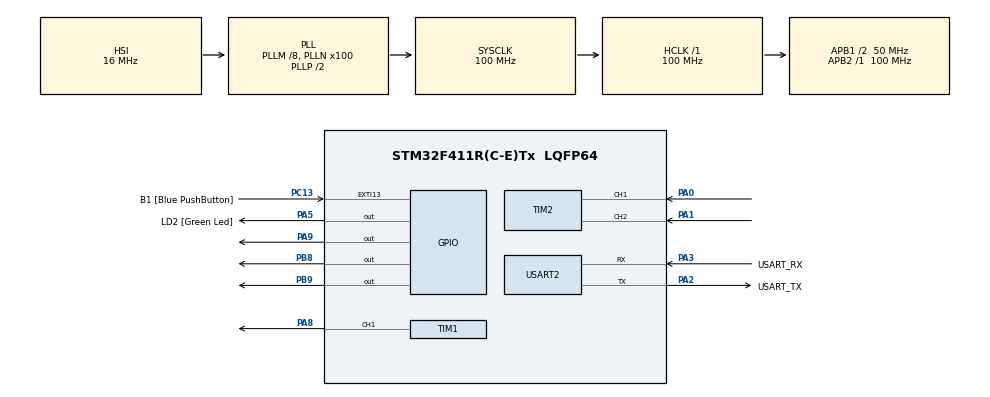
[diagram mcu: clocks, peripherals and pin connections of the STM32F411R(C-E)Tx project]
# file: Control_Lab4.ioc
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Mcu.Family=STM32F4
Mcu.Name=STM32F411R(C-E)Tx
Mcu.Package=LQFP64
NVIC.PriorityGroup=NVIC_PRIORITYGROUP_0
NVIC.TIM5_IRQn=true\:0\:0\:false\:false\:true\:true\:true\:true
PA0-WKUP.Signal=S_TIM2_CH1_ETR
PA1.Signal=S_TIM2_CH2
PA13.GPIO_Label=TMS
PA13.Mode=Serial_Wire
PA13.Signal=SYS_JTMS-SWDIO
PA14.GPIO_Label=TCK
PA14.Mode=Serial_Wire
PA14.Signal=SYS_JTCK-SWCLK
PA2.GPIO_Label=USART_TX
PA2.Mode=Asynchronous
PA2.Signal=USART2_TX
PA3.GPIO_Label=USART_RX
PA3.Mode=Asynchronous
PA3.Signal=USART2_RX
PA5.GPIO_Label=LD2 [Green Led]
PA5.Signal=GPIO_Output
PA8.Signal=S_TIM1_CH1
PA9.Signal=GPIO_Output
PB8.Signal=GPIO_Output
PB9.Signal=GPIO_Output
PC13-ANTI_TAMP.GPIO_Label=B1 [Blue PushButton]
PC13-ANTI_TAMP.GPIO_ModeDefaultEXTI=GPIO_MODE_IT_FALLING
PC13-ANTI_TAMP.Signal=GPXTI13
PC14-OSC32_IN.Mode=LSE-External-Oscillator
PC14-OSC32_IN.Signal=RCC_OSC32_IN
PC15-OSC32_OUT.Mode=LSE-External-Oscillator
PC15-OSC32_OUT.Signal=RCC_OSC32_OUT
PH0\ -\ OSC_IN.Mode=HSE-External-Clock-Source
PH0\ -\ OSC_IN.Signal=RCC_OSC_IN
PH1\ -\ OSC_OUT.Mode=HSE-External-Clock-Source
PH1\ -\ OSC_OUT.Signal=RCC_OSC_OUT
ProjectManager.HeapSize=0x200
ProjectManager.StackSize=0x400
ProjectManager.TargetToolchain=STM32CubeIDE
RCC.48MHZClocksFreq_Value=50000000
RCC.AHBFreq_Value=100000000
RCC.APB1CLKDivider=RCC_HCLK_DIV2
RCC.APB1Freq_Value=50000000
RCC.APB1TimFreq_Value=100000000
RCC.APB2Freq_Value=100000000
RCC.APB2TimFreq_Value=100000000
RCC.CortexFreq_Value=100000000
RCC.FLatency-AdvancedSettings=FLASH_LATENCY_3
RCC.HCLKFreq_Value=100000000
RCC.HSE_VALUE=8000000
RCC.HSI_VALUE=16000000
RCC.PLLM=8
RCC.PLLN=100
RCC.SYSCLKFreq_VALUE=100000000
RCC.SYSCLKSource=RCC_SYSCLKSOURCE_PLLCLK
RCC.VCOOutputFreq_Value=200000000
SH.S_TIM1_CH1.0=TIM1_CH1,PWM Generation1 CH1
SH.S_TIM2_CH1_ETR.0=TIM2_CH1,Encoder_Interface
SH.S_TIM2_CH2.0=TIM2_CH2,Encoder_Interface
TIM1.Channel-PWM\ Generation1\ CH1=TIM_CHANNEL_1
TIM1.Period=4999
TIM1.Prescaler=0
TIM2.EncoderMode=TIM_ENCODERMODE_TI12
TIM5.Period=999
TIM5.Prescaler=999
USART2.VirtualMode=VM_ASYNC
VP_TIM1_VS_ClockSourceINT.Mode=Internal
VP_TIM5_VS_ClockSourceINT.Mode=Internal
board=NUCLEO-F411RE

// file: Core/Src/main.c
/* USER CODE BEGIN Header */
/**
  ******************************************************************************
  * @file           : main.c
  * @brief          : Main program body
  ******************************************************************************
  * @attention
  *
  * Copyright (c) 2022 STMicroelectronics.
  * All rights reserved.
  *
  * This software is licensed under terms that can be found in the LICENSE file
  * in the root directory of this software component.
  * If no LICENSE file comes with this software, it is provided AS-IS.
  *
  ******************************************************************************
  */
/* USER CODE END Header */
#include "main.h"

/* USER CODE BEGIN Includes */
#define _USE_MATH_DEFINES
#include "math.h"

/* USER CODE END Includes */

 TIM_HandleTypeDef htim1;
TIM_HandleTypeDef htim2;
TIM_HandleTypeDef htim5;

UART_HandleTypeDef huart2;

/* USER CODE BEGIN PV */
float RadRel = 0;
void Drivemotor(float PWM);
float PID_Controller_Innerloop(float Error1);
float PID_Controller_Outerloop(float Error2);

float KalmanFilter(float Input);
uint32_t runtime = 0 ;
uint32_t storetime[2] = {0};
uint32_t deltatime = 0;
uint32_t timestamp = 0;

static enum {Init, Delay, Accerelation, Constant, Decelelation, Steadystate}state = Init;
uint32_t traject_time = 0;
float theta = M_PI;
float t_acc = 1.0;
float t_constant = 2.0;
float path = 0;
float v_profile = 0;
float t = 0;
float endtime = 0;
float v_max = 0;
float a = 0;
float voltage = 0;
float Error_theta = 0 ;
float Error_velocity = 0 ;
float Position[2] = {0};
float Velocity = 0;
float Velocity_Kalman = 0;
float velo_desire = 0 ;
float diff_theta_kalman = 0;

// Kalman Filter //
typedef struct
{
	float data[3][3];
	int rows;
	int cols;
}Matrix;

Matrix A, C, R, Q, x_k0, x_k1, z_k, xp_k, pp_k, p_k0, p_k1, A_T, C_T, y_k, s_k, s_k_inv, K, I, test;

Matrix Create_Matrix(int rows, int cols, float b[9])
{
	Matrix a;
	a.rows = rows;
	a.cols = cols;

	for (int i = 0; i < 3; i++)
	{
		for (int j = 0; j < 3; j++)
		{
			a.data[i][j] = 0;
		}
	}

	int n = 0;
	for (int i = 0; i < rows; i++)
	{
		for (int j = 0; j < cols; j++)
		{
			a.data[i][j] = 0;
			a.data[i][j] = b[n];
			n++;
		}
	}
	return a;
}

Matrix Multiply(Matrix a, Matrix b)
{
	Matrix c;
	c.rows = a.rows;
	c.cols = b.cols;
	for (int i = 0; i < 3; i++)
	{
		for (int j = 0; j < 3; j++)
		{
			c.data[i][j] = 0;
		}
	}

	for (int i = 0; i < a.rows; i++)
	{
		for (int j = 0; j < b.cols; j++)
		{
			for (int k = 0; k < b.rows; k++)
			{
				c.data[i][j] += a.data[i][k] * b.data[k][j];
			}
		}
	}
	return c;

}

Matrix Sum(Matrix a, Matrix b)
{
	Matrix c;
	c.rows = a.rows;
	c.cols = b.cols;

	for (int i = 0; i < 3; i++)
	{
		for (int j = 0; j < 3; j++)
		{
			c.data[i][j] = 0;
		}
	}

	for (int i = 0; i < a.rows; i++)
	{
		for (int j = 0; j < a.cols; j++)
		{
			c.data[i][j] = a.data[i][j] + b.data[i][j];
		}
	}

	return c;
}

Matrix Minus(Matrix a, Matrix b)
{
	Matrix c;
	c.rows = a.rows;
	c.cols = b.cols;

	for (int i = 0; i < 3; i++)
	{
		for (int j = 0; j < 3; j++)
		{
			c.data[i][j] = 0;
		}
	}

	for (int i = 0; i < a.rows; i++)
	{
		for (int j = 0; j < a.cols; j++)
		{
			c.data[i][j] = a.data[i][j] - b.data[i][j];
		}
	}

	return c;
}

Matrix Transpose(Matrix a)
{
	Matrix c;
	c.rows = a.rows;
	c.cols = a.cols;

	for (int i = 0; i < 3; i++)
	{
		for (int j = 0; j < 3; j++)
		{
			c.data[i][j] = 0;
		}
	}

	for (int i = 0; i < a.rows; i++)
	{
		for (int j = 0; j < a.cols; j++)
		{
			c.data[i][j] = a.data[j][i];
		}
	}
	return c;
}

Matrix Inverse(Matrix a)
{
	//this function is for only 1x1 matrix
	Matrix c;
	c.rows = a.rows;
	c.cols = a.cols;

	for (int i = 0; i < 3; i++)
	{
		for (int j = 0; j < 3; j++)
		{
			c.data[i][j] = 0;
		}
	}

	for (int i = 0; i < a.rows; i++)
	{
		for (int j = 0; j < a.cols; j++)
		{
			c.data[i][j] = 1/(a.data[i][j]);
		}
	}
	return c;
}

Matrix Store(Matrix a)
{
	Matrix c;
	c.rows = a.rows;
	c.cols = a.cols;

	for (int i = 0; i < 3; i++)
	{
		for (int j = 0; j < 3; j++)
		{
			c.data[i][j] = 0;
		}
	}

	for (int i = 0; i < a.rows; i++)
	{
		for (int j = 0; j < a.cols; j++)
		{
			c.data[i][j] = (a.data[i][j]);
		}
	}
	return c;
}
float sensor[1] = { 0 };
float tk = 0.00;
float ti = 0.00;
float output_theta = 0.00 ;
float zoutput_omega = 0.00 ;
int aa = 0;

/* USER CODE END PV */

void SystemClock_Config(void);
static void MX_GPIO_Init(void);
static void MX_USART2_UART_Init(void);
static void MX_TIM1_Init(void);
static void MX_TIM2_Init(void);
static void MX_TIM5_Init(void);

int main(void)
{

  /* MCU Configuration--------------------------------------------------------*/

  /* Reset of all peripherals, Initializes the Flash interface and the Systick. */
  HAL_Init();

  /* Configure the system clock */
  SystemClock_Config();

  /* Initialize all configured peripherals */
  MX_GPIO_Init();
  MX_USART2_UART_Init();
  MX_TIM1_Init();
  MX_TIM2_Init();
  MX_TIM5_Init();
  /* USER CODE BEGIN 2 */
  HAL_TIM_Encoder_Start(&htim2,TIM_CHANNEL_ALL);
  HAL_TIM_PWM_Start(&htim1, TIM_CHANNEL_1);
  HAL_TIM_PWM_Start(&htim1, TIM_CHANNEL_2);
  HAL_TIM_Base_Start_IT(&htim5);

  endtime = (2.0*t_acc) + t_constant;
  v_max = 2.0*theta/(t_constant + endtime);
  a = v_max/t_acc;

  float dt = 1/100.0;
  float mat_a[9] = { 1, dt, (0.5 * (pow(dt,2))), 0, 1, dt, 0, 0, 1 };
  float mat_c[3] = { 1, 0, 0 };
  float mat_r[1] = { 0.000961807 };
  float eye[9] = { 1, 0, 0, 0, 1, 0, 0, 0, 1 };
  float zero[9] = { 0 };
  float var_jerk = 10;
  float var_theta = (pow(((1 / 6.0) * pow(dt,3)), 2))*var_jerk;
  float var_omega = (pow(((1 / 2.0) * pow(dt, 2)), 2)) * var_jerk;
  float var_alpha = (pow(dt, 2)) * var_jerk;
  float var_theta_omega = ((1 / 12.0) * pow(dt, 5)) * var_jerk;
  float var_theta_alpha = ((1 / 6.0) * pow(dt, 4)) * var_jerk;
  float var_omega_alpha = ((1 / 2.0) * pow(dt, 3))* var_jerk;
  float mat_q[9] = {var_theta, var_theta_omega, var_theta_alpha, var_theta_omega, var_omega, var_omega_alpha, var_theta_alpha, var_omega_alpha, var_alpha };

  A = Create_Matrix(3, 3, mat_a);
  A_T = Transpose(A);
  C = Create_Matrix(1, 3, mat_c);
  C_T = Transpose(C);
  R = Create_Matrix(1, 1, mat_r);
  Q = Create_Matrix(3, 3, mat_q);
  I = Create_Matrix(3, 3, eye);
  x_k1 = Create_Matrix(3, 1, zero);
  p_k1 = Create_Matrix(3, 3, zero);
  /* USER CODE END 2 */

  /* Infinite loop */
  /* USER CODE BEGIN WHILE */
  while (1)
  {
	  t = (HAL_GetTick() - traject_time - 1000.0)/1000.0;
	  if(t >= endtime)
	  {
		  state = Steadystate;
	  }
	  else if(t >= (t_constant + t_acc))
	  {
		  state = Decelelation;
	  }
	  else if(t >= t_acc)
	  {
		  state = Constant;
	  }
	  else if(t >= 0)
	  {
		  state = Accerelation;
	  }

    /* USER CODE END WHILE */

  }
}

void SystemClock_Config(void)
{
  RCC_OscInitTypeDef RCC_OscInitStruct = {0};
  RCC_ClkInitTypeDef RCC_ClkInitStruct = {0};

  /** Configure the main internal regulator output voltage
  */
  __HAL_RCC_PWR_CLK_ENABLE();
  __HAL_PWR_VOLTAGESCALING_CONFIG(PWR_REGULATOR_VOLTAGE_SCALE1);

  /** Initializes the RCC Oscillators according to the specified parameters
  * in the RCC_OscInitTypeDef structure.
  */
  RCC_OscInitStruct.OscillatorType = RCC_OSCILLATORTYPE_HSI;
  RCC_OscInitStruct.HSIState = RCC_HSI_ON;
  RCC_OscInitStruct.HSICalibrationValue = RCC_HSICALIBRATION_DEFAULT;
  RCC_OscInitStruct.PLL.PLLState = RCC_PLL_ON;
  RCC_OscInitStruct.PLL.PLLSource = RCC_PLLSOURCE_HSI;
  RCC_OscInitStruct.PLL.PLLM = 8;
  RCC_OscInitStruct.PLL.PLLN = 100;
  RCC_OscInitStruct.PLL.PLLP = RCC_PLLP_DIV2;
  RCC_OscInitStruct.PLL.PLLQ = 4;
  if (HAL_RCC_OscConfig(&RCC_OscInitStruct) != HAL_OK)
  {
    Error_Handler();
  }

  /** Initializes the CPU, AHB and APB buses clocks
  */
  RCC_ClkInitStruct.ClockType = RCC_CLOCKTYPE_HCLK|RCC_CLOCKTYPE_SYSCLK
                              |RCC_CLOCKTYPE_PCLK1|RCC_CLOCKTYPE_PCLK2;
  RCC_ClkInitStruct.SYSCLKSource = RCC_SYSCLKSOURCE_PLLCLK;
  RCC_ClkInitStruct.AHBCLKDivider = RCC_SYSCLK_DIV1;
  RCC_ClkInitStruct.APB1CLKDivider = RCC_HCLK_DIV2;
  RCC_ClkInitStruct.APB2CLKDivider = RCC_HCLK_DIV1;

  if (HAL_RCC_ClockConfig(&RCC_ClkInitStruct, FLASH_LATENCY_3) != HAL_OK)
  {
    Error_Handler();
  }
}

static void MX_TIM1_Init(void)
{

  TIM_ClockConfigTypeDef sClockSourceConfig = {0};
  TIM_MasterConfigTypeDef sMasterConfig = {0};
  TIM_OC_InitTypeDef sConfigOC = {0};
  TIM_BreakDeadTimeConfigTypeDef sBreakDeadTimeConfig = {0};

  htim1.Instance = TIM1;
  htim1.Init.Prescaler = 0;
  htim1.Init.CounterMode = TIM_COUNTERMODE_UP;
  htim1.Init.Period = 4999;
  htim1.Init.ClockDivision = TIM_CLOCKDIVISION_DIV1;
  htim1.Init.RepetitionCounter = 0;
  htim1.Init.AutoReloadPreload = TIM_AUTORELOAD_PRELOAD_DISABLE;
  if (HAL_TIM_Base_Init(&htim1) != HAL_OK)
  {
    Error_Handler();
  }
  sClockSourceConfig.ClockSource = TIM_CLOCKSOURCE_INTERNAL;
  if (HAL_TIM_ConfigClockSource(&htim1, &sClockSourceConfig) != HAL_OK)
  {
    Error_Handler();
  }
  if (HAL_TIM_PWM_Init(&htim1) != HAL_OK)
  {
    Error_Handler();
  }
  sMasterConfig.MasterOutputTrigger = TIM_TRGO_RESET;
  sMasterConfig.MasterSlaveMode = TIM_MASTERSLAVEMODE_DISABLE;
  if (HAL_TIMEx_MasterConfigSynchronization(&htim1, &sMasterConfig) != HAL_OK)
  {
    Error_Handler();
  }
  sConfigOC.OCMode = TIM_OCMODE_PWM1;
  sConfigOC.Pulse = 0;
  sConfigOC.OCPolarity = TIM_OCPOLARITY_HIGH;
  sConfigOC.OCNPolarity = TIM_OCNPOLARITY_HIGH;
  sConfigOC.OCFastMode = TIM_OCFAST_DISABLE;
  sConfigOC.OCIdleState = TIM_OCIDLESTATE_RESET;
  sConfigOC.OCNIdleState = TIM_OCNIDLESTATE_RESET;
  if (HAL_TIM_PWM_ConfigChannel(&htim1, &sConfigOC, TIM_CHANNEL_1) != HAL_OK)
  {
    Error_Handler();
  }
  sBreakDeadTimeConfig.OffStateRunMode = TIM_OSSR_DISABLE;
  sBreakDeadTimeConfig.OffStateIDLEMode = TIM_OSSI_DISABLE;
  sBreakDeadTimeConfig.LockLevel = TIM_LOCKLEVEL_OFF;
  sBreakDeadTimeConfig.DeadTime = 0;
  sBreakDeadTimeConfig.BreakState = TIM_BREAK_DISABLE;
  sBreakDeadTimeConfig.BreakPolarity = TIM_BREAKPOLARITY_HIGH;
  sBreakDeadTimeConfig.AutomaticOutput = TIM_AUTOMATICOUTPUT_DISABLE;
  if (HAL_TIMEx_ConfigBreakDeadTime(&htim1, &sBreakDeadTimeConfig) != HAL_OK)
  {
    Error_Handler();
  }
  HAL_TIM_MspPostInit(&htim1);

}

static void MX_TIM2_Init(void)
{

  TIM_Encoder_InitTypeDef sConfig = {0};
  TIM_MasterConfigTypeDef sMasterConfig = {0};

  htim2.Instance = TIM2;
  htim2.Init.Prescaler = 0;
  htim2.Init.CounterMode = TIM_COUNTERMODE_UP;
  htim2.Init.Period = 4294967295;
  htim2.Init.ClockDivision = TIM_CLOCKDIVISION_DIV1;
  htim2.Init.AutoReloadPreload = TIM_AUTORELOAD_PRELOAD_DISABLE;
  sConfig.EncoderMode = TIM_ENCODERMODE_TI12;
  sConfig.IC1Polarity = TIM_ICPOLARITY_RISING;
  sConfig.IC1Selection = TIM_ICSELECTION_DIRECTTI;
  sConfig.IC1Prescaler = TIM_ICPSC_DIV1;
  sConfig.IC1Filter = 0;
  sConfig.IC2Polarity = TIM_ICPOLARITY_RISING;
  sConfig.IC2Selection = TIM_ICSELECTION_DIRECTTI;
  sConfig.IC2Prescaler = TIM_ICPSC_DIV1;
  sConfig.IC2Filter = 0;
  if (HAL_TIM_Encoder_Init(&htim2, &sConfig) != HAL_OK)
  {
    Error_Handler();
  }
  sMasterConfig.MasterOutputTrigger = TIM_TRGO_RESET;
  sMasterConfig.MasterSlaveMode = TIM_MASTERSLAVEMODE_DISABLE;
  if (HAL_TIMEx_MasterConfigSynchronization(&htim2, &sMasterConfig) != HAL_OK)
  {
    Error_Handler();
  }

}

static void MX_TIM5_Init(void)
{

  TIM_ClockConfigTypeDef sClockSourceConfig = {0};
  TIM_MasterConfigTypeDef sMasterConfig = {0};

  htim5.Instance = TIM5;
  htim5.Init.Prescaler = 999;
  htim5.Init.CounterMode = TIM_COUNTERMODE_UP;
  htim5.Init.Period = 999;
  htim5.Init.ClockDivision = TIM_CLOCKDIVISION_DIV1;
  htim5.Init.AutoReloadPreload = TIM_AUTORELOAD_PRELOAD_DISABLE;
  if (HAL_TIM_Base_Init(&htim5) != HAL_OK)
  {
    Error_Handler();
  }
  sClockSourceConfig.ClockSource = TIM_CLOCKSOURCE_INTERNAL;
  if (HAL_TIM_ConfigClockSource(&htim5, &sClockSourceConfig) != HAL_OK)
  {
    Error_Handler();
  }
  sMasterConfig.MasterOutputTrigger = TIM_TRGO_RESET;
  sMasterConfig.MasterSlaveMode = TIM_MASTERSLAVEMODE_DISABLE;
  if (HAL_TIMEx_MasterConfigSynchronization(&htim5, &sMasterConfig) != HAL_OK)
  {
    Error_Handler();
  }

}

static void MX_USART2_UART_Init(void)
{

  huart2.Instance = USART2;
  huart2.Init.BaudRate = 115200;
  huart2.Init.WordLength = UART_WORDLENGTH_8B;
  huart2.Init.StopBits = UART_STOPBITS_1;
  huart2.Init.Parity = UART_PARITY_NONE;
  huart2.Init.Mode = UART_MODE_TX_RX;
  huart2.Init.HwFlowCtl = UART_HWCONTROL_NONE;
  huart2.Init.OverSampling = UART_OVERSAMPLING_16;
  if (HAL_UART_Init(&huart2) != HAL_OK)
  {
    Error_Handler();
  }

}

static void MX_GPIO_Init(void)
{
  GPIO_InitTypeDef GPIO_InitStruct = {0};

  /* GPIO Ports Clock Enable */
  __HAL_RCC_GPIOC_CLK_ENABLE();
  __HAL_RCC_GPIOH_CLK_ENABLE();
  __HAL_RCC_GPIOA_CLK_ENABLE();
  __HAL_RCC_GPIOB_CLK_ENABLE();

  /*Configure GPIO pin Output Level */
  HAL_GPIO_WritePin(GPIOA, LD2_Pin|GPIO_PIN_9, GPIO_PIN_RESET);

  /*Configure GPIO pin Output Level */
  HAL_GPIO_WritePin(GPIOB, GPIO_PIN_8|GPIO_PIN_9, GPIO_PIN_RESET);

  /*Configure GPIO pin : B1_Pin */
  GPIO_InitStruct.Pin = B1_Pin;
  GPIO_InitStruct.Mode = GPIO_MODE_IT_FALLING;
  GPIO_InitStruct.Pull = GPIO_NOPULL;
  HAL_GPIO_Init(B1_GPIO_Port, &GPIO_InitStruct);

  /*Configure GPIO pins : LD2_Pin PA9 */
  GPIO_InitStruct.Pin = LD2_Pin|GPIO_PIN_9;
  GPIO_InitStruct.Mode = GPIO_MODE_OUTPUT_PP;
  GPIO_InitStruct.Pull = GPIO_NOPULL;
  GPIO_InitStruct.Speed = GPIO_SPEED_FREQ_LOW;
  HAL_GPIO_Init(GPIOA, &GPIO_InitStruct);

  /*Configure GPIO pins : PB8 PB9 */
  GPIO_InitStruct.Pin = GPIO_PIN_8|GPIO_PIN_9;
  GPIO_InitStruct.Mode = GPIO_MODE_OUTPUT_PP;
  GPIO_InitStruct.Pull = GPIO_NOPULL;
  GPIO_InitStruct.Speed = GPIO_SPEED_FREQ_LOW;
  HAL_GPIO_Init(GPIOB, &GPIO_InitStruct);

}

/* USER CODE BEGIN 4 */

void Drivemotor(float PWM)
{
	if(PWM<0 && PWM>=-5000)
	{
		__HAL_TIM_SET_COMPARE(&htim1, TIM_CHANNEL_1 , -1*PWM);
		HAL_GPIO_WritePin(GPIOA, GPIO_PIN_9, 1);
	}
	else if (PWM<-5000)
	{
		__HAL_TIM_SET_COMPARE(&htim1, TIM_CHANNEL_1 , 5000);
		HAL_GPIO_WritePin(GPIOA, GPIO_PIN_9, 1);
	}
	else if(PWM>=0 && PWM<=5000)
	{
		__HAL_TIM_SET_COMPARE(&htim1, TIM_CHANNEL_1 , PWM);
		HAL_GPIO_WritePin(GPIOA, GPIO_PIN_9, 0);
	}
	else if(PWM>5000)
	{
		__HAL_TIM_SET_COMPARE(&htim1, TIM_CHANNEL_1 , 5000);
		HAL_GPIO_WritePin(GPIOA, GPIO_PIN_9, 0);
	}
}

float PID_Controller_Innerloop(float Error1)
{
	static float Output1[2] = {0};
	static float error1[3] = {0};
	float Sampletime = 1/100.0 ;
	float Kp1 = 0.82586 ;
	float Ki1 = Sampletime * (0.82586 * 9.92);
	float Kd1 = 0.0 / Sampletime;

	error1[0] = Error1;
	Output1[0] = Output1[1] + ( (Kp1+Ki1+Kd1)*error1[0] ) - ( (Kp1 + (2*Kd1))*error1[1] ) + (Kd1*error1[2]);
	Output1[1] = Output1[0];
	error1[2] = error1[1];
	error1[1] = error1[0];

	return Output1[0];
}

float PID_Controller_Outerloop(float Error1)
{
	static float Output2[2] = {0};
	static float error2[3] = {0};
	float Sampletime = 1/100.0 ;
	float Kp2 = 0.2381*1.647 ;
	float Ki2 = Sampletime * 0.0;
	float Kd2 = 0.2381/Sampletime;

	error2[0] = Error1;
	Output2[0] = Output2[1] + ( (Kp2+Ki2+Kd2)*error2[0] ) - ( (Kp2 + (2*Kd2))*error2[1] ) + (Kd2*error2[2]);
	Output2[1] = Output2[0];
	error2[2] = error2[1];
	error2[1] = error2[0];

	return Output2[0];
}

float KalmanFilter(float Input)
{
	ti = aa / 100.0;
	tk = ti;
	sensor[0] = Input;
	z_k = Create_Matrix(1, 1, sensor);
	//Predict//
	xp_k = Multiply(A, x_k1);
	pp_k = Sum(Multiply(Multiply(A, p_k1), A_T), Q);
	//Update//
	y_k = Minus(z_k, Multiply(C, xp_k));
	s_k = Sum(Multiply(Multiply(C, pp_k), C_T), R);
	s_k_inv = Inverse(s_k);
	K = Multiply(Multiply(pp_k, C_T), s_k_inv);
	x_k0 = Sum(xp_k, Multiply(K, y_k));
	p_k0 = Multiply(Minus(I, Multiply(K, C)), pp_k);

	diff_theta_kalman = (x_k0.data[0][0] - x_k1.data[0][0])/(10.0/1000.0);

	//Memory [N-1] data
	x_k1 = Store(x_k0);
	p_k1 = Store(p_k0);
	output_theta = x_k0.data[0][0];
	zoutput_omega = x_k0.data[1][0];
	return zoutput_omega;

}

void HAL_TIM_PeriodElapsedCallback(TIM_HandleTypeDef *htim)
{
	if (htim == &htim5)
	{
		timestamp = HAL_GetTick();
		storetime[0] = HAL_GetTick();
		RadRel = (TIM2->CNT/8191.0)*(2*M_PI);
		Position[0] = RadRel;
		Velocity = (Position[0] - Position[1])/(10.0/1000.0);
		switch (state)
		{
		case Init:
			traject_time = timestamp;
			state = Delay;
			break;
		case Delay:
			path = 0;
			v_profile = 0;
			break;
		case Accerelation:
			path = 0.5*a*(pow(t,2));
			v_profile = a*(t);
			break;
		case Constant:
			path = (v_max*(t-t_acc)) + (0.5*a*(pow(t_acc,2)));
			v_profile = v_max;
			break;
		case Decelelation:
			path = (v_max*(t-(t_constant+t_acc))) - (0.5*a*(pow(t-(t_constant+t_acc),2))) + (v_max*t_constant) + (0.5*a*(pow(t_acc,2)));
			v_profile = v_max-(a*(t-(t_constant+t_acc)));
			break;
		case Steadystate:
			path = theta;
			v_profile = 0;
			break;
		default:
			break;

		}

		Error_theta = path - RadRel;
		velo_desire = PID_Controller_Outerloop(Error_theta);
		Velocity_Kalman = KalmanFilter(RadRel);
		//Error_velocity = velo_desire + velo_desire - Velocity;
		Error_velocity = v_profile + velo_desire - Velocity_Kalman;
		voltage = PID_Controller_Innerloop(Error_velocity);

		Drivemotor(((voltage)/12)*4999.0);

		deltatime = storetime[0] - storetime[1];
		storetime[1] = storetime[0];
		Position[1] = Position[0];
		runtime = HAL_GetTick() - timestamp;
	}
}
/* USER CODE END 4 */

void Error_Handler(void)
{
  __disable_irq();
  while (1)
  {
  }
}
